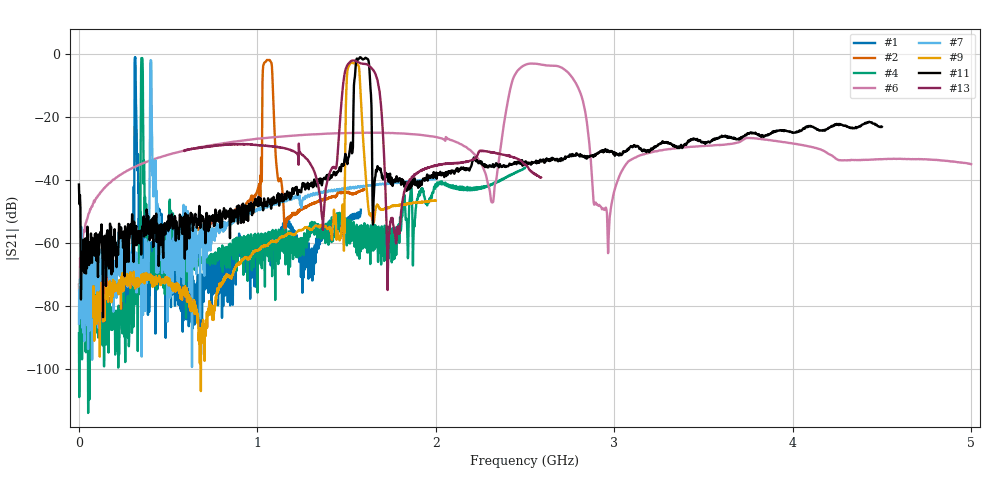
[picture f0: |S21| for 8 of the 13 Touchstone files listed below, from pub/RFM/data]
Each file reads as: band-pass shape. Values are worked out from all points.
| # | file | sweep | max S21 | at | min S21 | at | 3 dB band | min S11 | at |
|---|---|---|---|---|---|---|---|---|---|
| 1 | sf2248d_w.s2p | 250 MHz to 1.58 GHz | -1.16 dB | 314.8 MHz | -95.4 dB | 683.9 MHz | 312.3 MHz-317.3 MHz | -34.3 dB | 313.2 MHz |
| 2 | sf2255e_w.s2p | 500 MHz to 1.6 GHz | -1.98 dB | 1.056 GHz | -60.7 dB | 510.3 MHz | 1.031 GHz-1.082 GHz | -48.0 dB | 1.053 GHz |
| 3 | sf2259h-1_wide.s2p | 10 MHz to 3 GHz | -1.79 dB | 916.3 MHz | -95.5 dB | 24.95 MHz | 899.5 MHz-940.6 MHz | -27.6 dB | 916.3 MHz |
| 4 | sf2307d_w.s2p | 300 kHz to 2.5 GHz | -1.40 dB | 353.4 MHz | -113.9 dB | 51.86 MHz | 350.3 MHz-356.5 MHz | -31.8 dB | 350.3 MHz |
| 5 | sf2316e-1_w.s2p | 10 MHz to 3 GHz | -1.16 dB | 1.598 GHz | -69.5 dB | 21.21 MHz | 1.559 GHz-1.617 GHz | -33.0 dB | 1.572 GHz |
| 6 | sf2345e-1_wide.s2p | 300 kHz to 5 GHz | -3.14 dB | 2.531 GHz | -79.8 dB | 3.425 MHz | 2.45 GHz-2.744 GHz | -18.4 dB | 2.71 GHz |
| 7 | sf2352h_w.s2P | 300 kHz to 2 GHz | -2.05 dB | 402.7 MHz | -99.3 dB | 634 MHz | 400.2 MHz-405.2 MHz | -18.9 dB | 400.2 MHz |
| 8 | sf2353e_w.s2p | 820 MHz to 2.7 GHz | -0.88 dB | 1.572 GHz | -81.6 dB | 1.64 GHz | 1.552 GHz-1.612 GHz | -30.7 dB | 1.57 GHz |
| 9 | sf2375e_w.s2p | 80 MHz to 2 GHz | -2.79 dB | 1.53 GHz | -106.9 dB | 683.6 MHz | 1.504 GHz-1.572 GHz | -45.0 dB | 1.526 GHz |
| 10 | sf2380e_w.s2p | 10 MHz to 1.3 GHz | -1.66 dB | 872.7 MHz | -102.2 dB | 534.1 MHz | 850.9 MHz-892.8 MHz | -39.4 dB | 870.3 MHz |
| 11 | sf2385h_w.s2p | 100 kHz to 4.5 GHz | -1.15 dB | 1.575 GHz | -83.6 dB | 135.1 MHz | 1.553 GHz-1.626 GHz | -19.1 dB | 1.555 GHz |
| 12 | sf2391e_wide.s2p | 300 kHz to 3 GHz | -1.41 dB | 894.6 MHz | -80.7 dB | 2.175 MHz | 872.1 MHz-919 MHz | -23.9 dB | 894.6 MHz |
| 13 | sf2393e.s2p | 590 MHz to 2.59 GHz | -2.15 dB | 1.541 GHz | -74.9 dB | 1.73 GHz | 1.494 GHz-1.647 GHz | -22.7 dB | 1.655 GHz |
